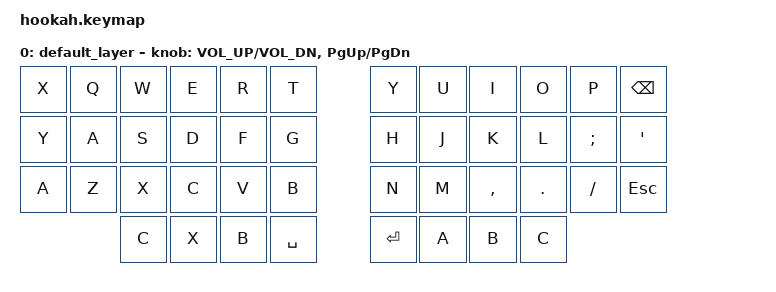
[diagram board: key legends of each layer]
/*
 * Copyright (c) 2020 The ZMK Contributors
 *
 * SPDX-License-Identifier: MIT
 */

#include <behaviors.dtsi>
#include <dt-bindings/zmk/keys.h>
#include <dt-bindings/zmk/bt.h>

/ {
        / {
	/* assign `input-listener` to all pointing devices */
	/* &pd0 on peripheral, &vtpoint0 on central */

        trackball_peripheral_listener {
                compatible = "zmk,input-listener";
                device = <&pd0>;
	};

        trackball_central_listener {
                compatible = "zmk,input-listener";
                device = <&vtpoint0>;
	};
        }/

        keymap {
                compatible = "zmk,keymap";

                default_layer {
// -----------------------------------------------------------------------------------------
// |  X |  Q  |  W  |  E  |  R  |  T  |   |  Y  |  U   |  I  |  O  |  P  | BSPC |
// | Y  |  A  |  S  |  D  |  F  |  G  |   |  H  |  J   |  K  |  L  |  ;  |  '   |
// | A  |  Z  |  X  |  C  |  V  |  B  |   |  N  |  M   |  ,  |  .  |  /  | ESC  |
//                C |  X  |  B  | SPC |   | ENT | A  | B | C
                        bindings = <
   &kp X   &kp Q &kp W &kp E &kp R &kp T   &kp Y &kp U  &kp I     &kp O   &kp P    &kp BSPC
   &kp Y &kp A &kp S &kp D &kp F &kp G   &kp H &kp J  &kp K     &kp L   &kp SEMI &kp SQT
   &kp A &kp Z &kp X &kp C &kp V &kp B   &kp N &kp M  &kp COMMA &kp DOT &kp FSLH &kp ESC
           &kp C  &kp X    &kp B &kp SPACE   &kp RET &kp A &kp B &kp C
                        >;
                        sensor-bindings = <&inc_dec_kp C_VOL_UP C_VOL_DN &inc_dec_kp PG_UP PG_DN>;
                };
        };
};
